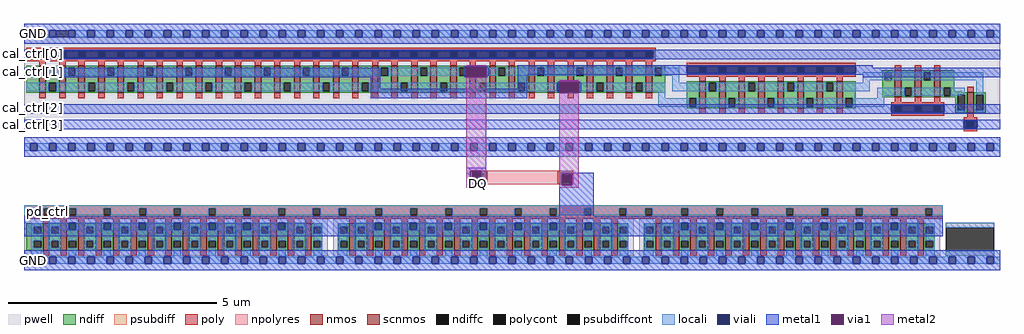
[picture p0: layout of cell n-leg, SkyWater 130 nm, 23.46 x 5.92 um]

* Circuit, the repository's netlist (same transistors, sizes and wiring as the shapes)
**.subckt n-leg DQ pd_ctrl cal_ctrl[3],cal_ctrl[2],cal_ctrl[1],cal_ctrl[0]
*.iopin DQ
*.ipin pd_ctrl
*.ipin cal_ctrl[3],cal_ctrl[2],cal_ctrl[1],cal_ctrl[0]
R1 vpulldown DQ sky130_fd_pr__res_generic_po W=0.33 L=1.7 m=1
Xn1 vpulldown pd_ctrl GND GND sky130_fd_pr__nfet_01v8 L=0.15 W=0.65 nf=1 ad='int((nf+1)/2) * W/nf * 0.29'
+ as='int((nf+2)/2) * W/nf * 0.29' pd='2*int((nf+1)/2) * (W/nf + 0.29)' ps='2*int((nf+2)/2) * (W/nf + 0.29)'
+ nrd='0.29 / W' nrs='0.29 / W' sa=0 sb=0 sd=0 mult=48 m=48
Xnctrl0 DQ cal_ctrl[0] vpulldown GND sky130_fd_pr__nfet_01v8 L=0.15 W=0.65 nf=1 ad='int((nf+1)/2) * W/nf * 0.29'
+ as='int((nf+2)/2) * W/nf * 0.29' pd='2*int((nf+1)/2) * (W/nf + 0.29)' ps='2*int((nf+2)/2) * (W/nf + 0.29)'
+ nrd='0.29 / W' nrs='0.29 / W' sa=0 sb=0 sd=0 mult=32 m=32
Xnctrl1 DQ cal_ctrl[1] vpulldown GND sky130_fd_pr__nfet_01v8 L=0.15 W=0.65 nf=1 ad='int((nf+1)/2) * W/nf * 0.29'
+ as='int((nf+2)/2) * W/nf * 0.29' pd='2*int((nf+1)/2) * (W/nf + 0.29)' ps='2*int((nf+2)/2) * (W/nf + 0.29)'
+ nrd='0.29 / W' nrs='0.29 / W' sa=0 sb=0 sd=0 mult=8 m=8
Xnctrl2 DQ cal_ctrl[2] vpulldown GND sky130_fd_pr__nfet_01v8 L=0.15 W=0.65 nf=1 ad='int((nf+1)/2) * W/nf * 0.29'
+ as='int((nf+2)/2) * W/nf * 0.29' pd='2*int((nf+1)/2) * (W/nf + 0.29)' ps='2*int((nf+2)/2) * (W/nf + 0.29)'
+ nrd='0.29 / W' nrs='0.29 / W' sa=0 sb=0 sd=0 mult=3 m=3
Xnctrl3 DQ cal_ctrl[3] vpulldown GND sky130_fd_pr__nfet_01v8 L=0.15 W=0.5 nf=1 ad='int((nf+1)/2) * W/nf * 0.29'
+ as='int((nf+2)/2) * W/nf * 0.29' pd='2*int((nf+1)/2) * (W/nf + 0.29)' ps='2*int((nf+2)/2) * (W/nf + 0.29)'
+ nrd='0.29 / W' nrs='0.29 / W' sa=0 sb=0 sd=0 mult=1 m=1
**.ends
.GLOBAL GND
.end

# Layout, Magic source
magic
tech sky130A
magscale 1 2
<< pwell >>
rect 1883 1071 1917 1105
rect 3355 1071 3389 1105
rect 4827 1071 4861 1105
rect 1854 673 6546 1071
rect 1854 21 3314 203
rect 3340 21 4786 203
rect 4812 21 6258 203
rect 1883 -17 1917 21
rect 3355 -17 3389 21
rect 4827 -17 4861 21
<< scnmos >>
rect 1946 47 1976 177
rect 2030 47 2060 177
rect 2114 47 2144 177
rect 2198 47 2228 177
rect 2282 47 2312 177
rect 2366 47 2396 177
rect 2450 47 2480 177
rect 2534 47 2564 177
rect 2618 47 2648 177
rect 2702 47 2732 177
rect 2786 47 2816 177
rect 2870 47 2900 177
rect 2954 47 2984 177
rect 3038 47 3068 177
rect 3122 47 3152 177
rect 3206 47 3236 177
rect 3418 47 3448 177
rect 3502 47 3532 177
rect 3586 47 3616 177
rect 3670 47 3700 177
rect 3754 47 3784 177
rect 3838 47 3868 177
rect 3922 47 3952 177
rect 4006 47 4036 177
rect 4090 47 4120 177
rect 4174 47 4204 177
rect 4258 47 4288 177
rect 4342 47 4372 177
rect 4426 47 4456 177
rect 4510 47 4540 177
rect 4594 47 4624 177
rect 4678 47 4708 177
rect 4890 47 4920 177
rect 4974 47 5004 177
rect 5058 47 5088 177
rect 5142 47 5172 177
rect 5226 47 5256 177
rect 5310 47 5340 177
rect 5394 47 5424 177
rect 5478 47 5508 177
rect 5562 47 5592 177
rect 5646 47 5676 177
rect 5730 47 5760 177
rect 5814 47 5844 177
rect 5898 47 5928 177
rect 5982 47 6012 177
rect 6066 47 6096 177
rect 6150 47 6180 177
<< ndiff >>
rect 6325 808 6361 812
rect 6325 782 6331 808
rect 1864 161 1946 177
rect 1864 127 1902 161
rect 1936 127 1946 161
rect 1864 93 1946 127
rect 1864 59 1902 93
rect 1936 59 1946 93
rect 1864 47 1946 59
rect 1976 161 2030 177
rect 1976 127 1986 161
rect 2020 127 2030 161
rect 1976 93 2030 127
rect 1976 59 1986 93
rect 2020 59 2030 93
rect 1976 47 2030 59
rect 2060 93 2114 177
rect 2060 59 2070 93
rect 2104 59 2114 93
rect 2060 47 2114 59
rect 2144 161 2198 177
rect 2144 127 2154 161
rect 2188 127 2198 161
rect 2144 93 2198 127
rect 2144 59 2154 93
rect 2188 59 2198 93
rect 2144 47 2198 59
rect 2228 93 2282 177
rect 2228 59 2238 93
rect 2272 59 2282 93
rect 2228 47 2282 59
rect 2312 161 2366 177
rect 2312 127 2322 161
rect 2356 127 2366 161
rect 2312 93 2366 127
rect 2312 59 2322 93
rect 2356 59 2366 93
rect 2312 47 2366 59
rect 2396 93 2450 177
rect 2396 59 2406 93
rect 2440 59 2450 93
rect 2396 47 2450 59
rect 2480 161 2534 177
rect 2480 127 2490 161
rect 2524 127 2534 161
rect 2480 93 2534 127
rect 2480 59 2490 93
rect 2524 59 2534 93
rect 2480 47 2534 59
rect 2564 93 2618 177
rect 2564 59 2574 93
rect 2608 59 2618 93
rect 2564 47 2618 59
rect 2648 161 2702 177
rect 2648 127 2658 161
rect 2692 127 2702 161
rect 2648 93 2702 127
rect 2648 59 2658 93
rect 2692 59 2702 93
rect 2648 47 2702 59
rect 2732 93 2786 177
rect 2732 59 2742 93
rect 2776 59 2786 93
rect 2732 47 2786 59
rect 2816 161 2870 177
rect 2816 127 2826 161
rect 2860 127 2870 161
rect 2816 93 2870 127
rect 2816 59 2826 93
rect 2860 59 2870 93
rect 2816 47 2870 59
rect 2900 93 2954 177
rect 2900 59 2910 93
rect 2944 59 2954 93
rect 2900 47 2954 59
rect 2984 161 3038 177
rect 2984 127 2994 161
rect 3028 127 3038 161
rect 2984 93 3038 127
rect 2984 59 2994 93
rect 3028 59 3038 93
rect 2984 47 3038 59
rect 3068 93 3122 177
rect 3068 59 3078 93
rect 3112 59 3122 93
rect 3068 47 3122 59
rect 3152 161 3206 177
rect 3152 127 3162 161
rect 3196 127 3206 161
rect 3152 93 3206 127
rect 3152 59 3162 93
rect 3196 59 3206 93
rect 3152 47 3206 59
rect 3236 161 3288 177
rect 3236 127 3246 161
rect 3280 127 3288 161
rect 3236 93 3288 127
rect 3236 59 3246 93
rect 3280 59 3288 93
rect 3236 47 3288 59
rect 3366 161 3418 177
rect 3366 127 3374 161
rect 3408 127 3418 161
rect 3366 93 3418 127
rect 3366 59 3374 93
rect 3408 59 3418 93
rect 3366 47 3418 59
rect 3448 161 3502 177
rect 3448 127 3458 161
rect 3492 127 3502 161
rect 3448 93 3502 127
rect 3448 59 3458 93
rect 3492 59 3502 93
rect 3448 47 3502 59
rect 3532 93 3586 177
rect 3532 59 3542 93
rect 3576 59 3586 93
rect 3532 47 3586 59
rect 3616 161 3670 177
rect 3616 127 3626 161
rect 3660 127 3670 161
rect 3616 93 3670 127
rect 3616 59 3626 93
rect 3660 59 3670 93
rect 3616 47 3670 59
rect 3700 93 3754 177
rect 3700 59 3710 93
rect 3744 59 3754 93
rect 3700 47 3754 59
rect 3784 161 3838 177
rect 3784 127 3794 161
rect 3828 127 3838 161
rect 3784 93 3838 127
rect 3784 59 3794 93
rect 3828 59 3838 93
rect 3784 47 3838 59
rect 3868 93 3922 177
rect 3868 59 3878 93
rect 3912 59 3922 93
rect 3868 47 3922 59
rect 3952 161 4006 177
rect 3952 127 3962 161
rect 3996 127 4006 161
rect 3952 93 4006 127
rect 3952 59 3962 93
rect 3996 59 4006 93
rect 3952 47 4006 59
rect 4036 93 4090 177
rect 4036 59 4046 93
rect 4080 59 4090 93
rect 4036 47 4090 59
rect 4120 161 4174 177
rect 4120 127 4130 161
rect 4164 127 4174 161
rect 4120 93 4174 127
rect 4120 59 4130 93
rect 4164 59 4174 93
rect 4120 47 4174 59
rect 4204 93 4258 177
rect 4204 59 4214 93
rect 4248 59 4258 93
rect 4204 47 4258 59
rect 4288 161 4342 177
rect 4288 127 4298 161
rect 4332 127 4342 161
rect 4288 93 4342 127
rect 4288 59 4298 93
rect 4332 59 4342 93
rect 4288 47 4342 59
rect 4372 93 4426 177
rect 4372 59 4382 93
rect 4416 59 4426 93
rect 4372 47 4426 59
rect 4456 161 4510 177
rect 4456 127 4466 161
rect 4500 127 4510 161
rect 4456 93 4510 127
rect 4456 59 4466 93
rect 4500 59 4510 93
rect 4456 47 4510 59
rect 4540 93 4594 177
rect 4540 59 4550 93
rect 4584 59 4594 93
rect 4540 47 4594 59
rect 4624 161 4678 177
rect 4624 127 4634 161
rect 4668 127 4678 161
rect 4624 93 4678 127
rect 4624 59 4634 93
rect 4668 59 4678 93
rect 4624 47 4678 59
rect 4708 161 4760 177
rect 4708 127 4718 161
rect 4752 127 4760 161
rect 4708 93 4760 127
rect 4708 59 4718 93
rect 4752 59 4760 93
rect 4708 47 4760 59
rect 4838 161 4890 177
rect 4838 127 4846 161
rect 4880 127 4890 161
rect 4838 93 4890 127
rect 4838 59 4846 93
rect 4880 59 4890 93
rect 4838 47 4890 59
rect 4920 161 4974 177
rect 4920 127 4930 161
rect 4964 127 4974 161
rect 4920 93 4974 127
rect 4920 59 4930 93
rect 4964 59 4974 93
rect 4920 47 4974 59
rect 5004 93 5058 177
rect 5004 59 5014 93
rect 5048 59 5058 93
rect 5004 47 5058 59
rect 5088 161 5142 177
rect 5088 127 5098 161
rect 5132 127 5142 161
rect 5088 93 5142 127
rect 5088 59 5098 93
rect 5132 59 5142 93
rect 5088 47 5142 59
rect 5172 93 5226 177
rect 5172 59 5182 93
rect 5216 59 5226 93
rect 5172 47 5226 59
rect 5256 161 5310 177
rect 5256 127 5266 161
rect 5300 127 5310 161
rect 5256 93 5310 127
rect 5256 59 5266 93
rect 5300 59 5310 93
rect 5256 47 5310 59
rect 5340 93 5394 177
rect 5340 59 5350 93
rect 5384 59 5394 93
rect 5340 47 5394 59
rect 5424 161 5478 177
rect 5424 127 5434 161
rect 5468 127 5478 161
rect 5424 93 5478 127
rect 5424 59 5434 93
rect 5468 59 5478 93
rect 5424 47 5478 59
rect 5508 93 5562 177
rect 5508 59 5518 93
rect 5552 59 5562 93
rect 5508 47 5562 59
rect 5592 161 5646 177
rect 5592 127 5602 161
rect 5636 127 5646 161
rect 5592 93 5646 127
rect 5592 59 5602 93
rect 5636 59 5646 93
rect 5592 47 5646 59
rect 5676 93 5730 177
rect 5676 59 5686 93
rect 5720 59 5730 93
rect 5676 47 5730 59
rect 5760 161 5814 177
rect 5760 127 5770 161
rect 5804 127 5814 161
rect 5760 93 5814 127
rect 5760 59 5770 93
rect 5804 59 5814 93
rect 5760 47 5814 59
rect 5844 93 5898 177
rect 5844 59 5854 93
rect 5888 59 5898 93
rect 5844 47 5898 59
rect 5928 161 5982 177
rect 5928 127 5938 161
rect 5972 127 5982 161
rect 5928 93 5982 127
rect 5928 59 5938 93
rect 5972 59 5982 93
rect 5928 47 5982 59
rect 6012 93 6066 177
rect 6012 59 6022 93
rect 6056 59 6066 93
rect 6012 47 6066 59
rect 6096 161 6150 177
rect 6096 127 6106 161
rect 6140 127 6150 161
rect 6096 93 6150 127
rect 6096 59 6106 93
rect 6140 59 6150 93
rect 6096 47 6150 59
rect 6180 161 6232 177
rect 6180 127 6190 161
rect 6224 127 6232 161
rect 6180 93 6232 127
rect 6180 59 6190 93
rect 6224 59 6232 93
rect 6180 47 6232 59
<< ndiffc >>
rect 1902 127 1936 161
rect 1902 59 1936 93
rect 1986 127 2020 161
rect 1986 59 2020 93
rect 2070 59 2104 93
rect 2154 127 2188 161
rect 2154 59 2188 93
rect 2238 59 2272 93
rect 2322 127 2356 161
rect 2322 59 2356 93
rect 2406 59 2440 93
rect 2490 127 2524 161
rect 2490 59 2524 93
rect 2574 59 2608 93
rect 2658 127 2692 161
rect 2658 59 2692 93
rect 2742 59 2776 93
rect 2826 127 2860 161
rect 2826 59 2860 93
rect 2910 59 2944 93
rect 2994 127 3028 161
rect 2994 59 3028 93
rect 3078 59 3112 93
rect 3162 127 3196 161
rect 3162 59 3196 93
rect 3246 127 3280 161
rect 3246 59 3280 93
rect 3374 127 3408 161
rect 3374 59 3408 93
rect 3458 127 3492 161
rect 3458 59 3492 93
rect 3542 59 3576 93
rect 3626 127 3660 161
rect 3626 59 3660 93
rect 3710 59 3744 93
rect 3794 127 3828 161
rect 3794 59 3828 93
rect 3878 59 3912 93
rect 3962 127 3996 161
rect 3962 59 3996 93
rect 4046 59 4080 93
rect 4130 127 4164 161
rect 4130 59 4164 93
rect 4214 59 4248 93
rect 4298 127 4332 161
rect 4298 59 4332 93
rect 4382 59 4416 93
rect 4466 127 4500 161
rect 4466 59 4500 93
rect 4550 59 4584 93
rect 4634 127 4668 161
rect 4634 59 4668 93
rect 4718 127 4752 161
rect 4718 59 4752 93
rect 4846 127 4880 161
rect 4846 59 4880 93
rect 4930 127 4964 161
rect 4930 59 4964 93
rect 5014 59 5048 93
rect 5098 127 5132 161
rect 5098 59 5132 93
rect 5182 59 5216 93
rect 5266 127 5300 161
rect 5266 59 5300 93
rect 5350 59 5384 93
rect 5434 127 5468 161
rect 5434 59 5468 93
rect 5518 59 5552 93
rect 5602 127 5636 161
rect 5602 59 5636 93
rect 5686 59 5720 93
rect 5770 127 5804 161
rect 5770 59 5804 93
rect 5854 59 5888 93
rect 5938 127 5972 161
rect 5938 59 5972 93
rect 6022 59 6056 93
rect 6106 127 6140 161
rect 6106 59 6140 93
rect 6190 127 6224 161
rect 6190 59 6224 93
<< psubdiff >>
rect 1975 1071 2009 1105
rect 2067 1071 2101 1105
rect 6286 156 6519 180
rect 6286 21 6519 45
<< psubdiffcont >>
rect 2009 1071 2067 1105
rect 6286 45 6519 156
<< poly >>
rect 1854 249 6270 265
rect 1854 215 1950 249
rect 1984 215 2070 249
rect 2104 215 2238 249
rect 2272 215 2407 249
rect 2441 215 2574 249
rect 2608 215 2742 249
rect 2776 215 2909 249
rect 2943 215 3076 249
rect 3110 215 3243 249
rect 3277 215 3368 249
rect 3402 215 3542 249
rect 3576 215 3710 249
rect 3744 215 3879 249
rect 3913 215 4046 249
rect 4080 215 4214 249
rect 4248 215 4381 249
rect 4415 215 4548 249
rect 4582 215 4715 249
rect 4749 215 4840 249
rect 4874 215 5014 249
rect 5048 215 5182 249
rect 5216 215 5351 249
rect 5385 215 5518 249
rect 5552 215 5686 249
rect 5720 215 5853 249
rect 5887 215 6020 249
rect 6054 215 6187 249
rect 6221 215 6270 249
rect 1854 199 6270 215
rect 1946 177 1976 199
rect 2030 177 2060 199
rect 2114 177 2144 199
rect 2198 177 2228 199
rect 2282 177 2312 199
rect 2366 177 2396 199
rect 2450 177 2480 199
rect 2534 177 2564 199
rect 2618 177 2648 199
rect 2702 177 2732 199
rect 2786 177 2816 199
rect 2870 177 2900 199
rect 2954 177 2984 199
rect 3038 177 3068 199
rect 3122 177 3152 199
rect 3206 177 3236 199
rect 3418 177 3448 199
rect 3502 177 3532 199
rect 3586 177 3616 199
rect 3670 177 3700 199
rect 3754 177 3784 199
rect 3838 177 3868 199
rect 3922 177 3952 199
rect 4006 177 4036 199
rect 4090 177 4120 199
rect 4174 177 4204 199
rect 4258 177 4288 199
rect 4342 177 4372 199
rect 4426 177 4456 199
rect 4510 177 4540 199
rect 4594 177 4624 199
rect 4678 177 4708 199
rect 4890 177 4920 199
rect 4974 177 5004 199
rect 5058 177 5088 199
rect 5142 177 5172 199
rect 5226 177 5256 199
rect 5310 177 5340 199
rect 5394 177 5424 199
rect 5478 177 5508 199
rect 5562 177 5592 199
rect 5646 177 5676 199
rect 5730 177 5760 199
rect 5814 177 5844 199
rect 5898 177 5928 199
rect 5982 177 6012 199
rect 6066 177 6096 199
rect 6150 177 6180 199
rect 1946 21 1976 47
rect 2030 21 2060 47
rect 2114 21 2144 47
rect 2198 21 2228 47
rect 2282 21 2312 47
rect 2366 21 2396 47
rect 2450 21 2480 47
rect 2534 21 2564 47
rect 2618 21 2648 47
rect 2702 21 2732 47
rect 2786 21 2816 47
rect 2870 21 2900 47
rect 2954 21 2984 47
rect 3038 21 3068 47
rect 3122 21 3152 47
rect 3206 21 3236 47
rect 3418 21 3448 47
rect 3502 21 3532 47
rect 3586 21 3616 47
rect 3670 21 3700 47
rect 3754 21 3784 47
rect 3838 21 3868 47
rect 3922 21 3952 47
rect 4006 21 4036 47
rect 4090 21 4120 47
rect 4174 21 4204 47
rect 4258 21 4288 47
rect 4342 21 4372 47
rect 4426 21 4456 47
rect 4510 21 4540 47
rect 4594 21 4624 47
rect 4678 21 4708 47
rect 4890 21 4920 47
rect 4974 21 5004 47
rect 5058 21 5088 47
rect 5142 21 5172 47
rect 5226 21 5256 47
rect 5310 21 5340 47
rect 5394 21 5424 47
rect 5478 21 5508 47
rect 5562 21 5592 47
rect 5646 21 5676 47
rect 5730 21 5760 47
rect 5814 21 5844 47
rect 5898 21 5928 47
rect 5982 21 6012 47
rect 6066 21 6096 47
rect 6150 21 6180 47
<< polycont >>
rect 1950 215 1984 249
rect 2070 215 2104 249
rect 2238 215 2272 249
rect 2407 215 2441 249
rect 2574 215 2608 249
rect 2742 215 2776 249
rect 2909 215 2943 249
rect 3076 215 3110 249
rect 3243 215 3277 249
rect 3368 215 3402 249
rect 3542 215 3576 249
rect 3710 215 3744 249
rect 3879 215 3913 249
rect 4046 215 4080 249
rect 4214 215 4248 249
rect 4381 215 4415 249
rect 4548 215 4582 249
rect 4715 215 4749 249
rect 4840 215 4874 249
rect 5014 215 5048 249
rect 5182 215 5216 249
rect 5351 215 5385 249
rect 5518 215 5552 249
rect 5686 215 5720 249
rect 5853 215 5887 249
rect 6020 215 6054 249
rect 6187 215 6221 249
<< locali >>
rect 1854 1071 1883 1105
rect 1917 1071 1975 1105
rect 2101 1071 2159 1105
rect 2193 1071 2251 1105
rect 2285 1071 2343 1105
rect 2377 1071 2435 1105
rect 2469 1071 2527 1105
rect 2561 1071 2619 1105
rect 2653 1071 2711 1105
rect 2745 1071 2803 1105
rect 2837 1071 2895 1105
rect 2929 1071 2987 1105
rect 3021 1071 3079 1105
rect 3113 1071 3171 1105
rect 3205 1071 3263 1105
rect 3297 1071 3355 1105
rect 3389 1071 3447 1105
rect 3481 1071 3539 1105
rect 3573 1071 3631 1105
rect 3665 1071 3723 1105
rect 3757 1071 3815 1105
rect 3849 1071 3907 1105
rect 3941 1071 3999 1105
rect 4033 1071 4091 1105
rect 4125 1071 4183 1105
rect 4217 1071 4275 1105
rect 4309 1071 4367 1105
rect 4401 1071 4459 1105
rect 4493 1071 4551 1105
rect 4585 1071 4643 1105
rect 4677 1071 4735 1105
rect 4769 1071 4827 1105
rect 4861 1071 4919 1105
rect 4953 1071 5011 1105
rect 5045 1071 5103 1105
rect 5137 1071 5195 1105
rect 5229 1071 5287 1105
rect 5321 1071 5379 1105
rect 5413 1071 5471 1105
rect 5505 1071 5563 1105
rect 5597 1071 5655 1105
rect 5689 1071 5747 1105
rect 5781 1071 5839 1105
rect 5873 1071 5931 1105
rect 5965 1071 6023 1105
rect 6057 1071 6115 1105
rect 6149 1071 6207 1105
rect 6241 1071 6299 1105
rect 6333 1071 6391 1105
rect 6425 1071 6483 1105
rect 6517 1071 6546 1105
rect 4936 886 5004 926
rect 4970 852 5004 886
rect 5887 864 6023 904
rect 6325 864 6465 904
rect 5887 852 5921 864
rect 4970 812 5039 852
rect 5853 812 5921 852
rect 4902 778 4936 812
rect 5955 790 6019 830
rect 6325 812 6377 830
rect 6431 812 6465 864
rect 6325 790 6363 812
rect 5955 778 5989 790
rect 4902 738 5039 778
rect 5853 738 5989 778
rect 1854 527 1883 561
rect 1917 527 1975 561
rect 2009 527 2067 561
rect 2101 527 2159 561
rect 2193 527 2251 561
rect 2285 527 2343 561
rect 2377 527 2435 561
rect 2469 527 2527 561
rect 2561 527 2619 561
rect 2653 527 2711 561
rect 2745 527 2803 561
rect 2837 527 2895 561
rect 2929 527 2987 561
rect 3021 527 3079 561
rect 3113 527 3171 561
rect 3205 527 3263 561
rect 3297 527 3355 561
rect 3389 527 3447 561
rect 3481 527 3539 561
rect 3573 527 3631 561
rect 3665 527 3723 561
rect 3757 527 3815 561
rect 3849 527 3907 561
rect 3941 527 3999 561
rect 4033 527 4091 561
rect 4125 527 4183 561
rect 4217 527 4275 561
rect 4309 527 4367 561
rect 4401 527 4459 561
rect 4493 527 4551 561
rect 4585 527 4643 561
rect 4677 527 4735 561
rect 4769 527 4827 561
rect 4861 527 4919 561
rect 4953 527 5011 561
rect 5045 527 5103 561
rect 5137 527 5195 561
rect 5229 527 5287 561
rect 5321 527 5379 561
rect 5413 527 5471 561
rect 5505 527 5563 561
rect 5597 527 5655 561
rect 5689 527 5747 561
rect 5781 527 5839 561
rect 5873 527 5931 561
rect 5965 527 6023 561
rect 6057 527 6115 561
rect 6149 527 6207 561
rect 6241 527 6299 561
rect 6333 527 6391 561
rect 6425 527 6483 561
rect 6517 527 6546 561
rect 1854 249 6270 263
rect 1854 215 1950 249
rect 1984 215 2070 249
rect 2104 215 2238 249
rect 2272 215 2407 249
rect 2441 215 2574 249
rect 2608 215 2742 249
rect 2776 215 2909 249
rect 2943 215 3076 249
rect 3110 215 3243 249
rect 3277 215 3368 249
rect 3402 215 3542 249
rect 3576 215 3710 249
rect 3744 215 3879 249
rect 3913 215 4046 249
rect 4080 215 4214 249
rect 4248 215 4381 249
rect 4415 215 4548 249
rect 4582 215 4715 249
rect 4749 215 4840 249
rect 4874 215 5014 249
rect 5048 215 5182 249
rect 5216 215 5351 249
rect 5385 215 5518 249
rect 5552 215 5686 249
rect 5720 215 5853 249
rect 5887 215 6020 249
rect 6054 215 6187 249
rect 6221 215 6270 249
rect 1970 179 3212 181
rect 1890 161 1936 177
rect 1890 127 1902 161
rect 1890 93 1936 127
rect 1890 59 1902 93
rect 1890 17 1936 59
rect 1970 161 2069 179
rect 1970 127 1986 161
rect 2020 145 2069 161
rect 2103 161 2237 179
rect 2103 145 2154 161
rect 2020 143 2154 145
rect 2020 127 2036 143
rect 1970 93 2036 127
rect 2138 127 2154 143
rect 2188 145 2237 161
rect 2271 161 2405 179
rect 2271 145 2322 161
rect 2188 143 2322 145
rect 2188 127 2204 143
rect 1970 59 1986 93
rect 2020 59 2036 93
rect 1970 51 2036 59
rect 2070 93 2104 109
rect 2070 17 2104 59
rect 2138 93 2204 127
rect 2306 127 2322 143
rect 2356 145 2405 161
rect 2439 161 2573 179
rect 2439 145 2490 161
rect 2356 143 2490 145
rect 2356 127 2372 143
rect 2138 59 2154 93
rect 2188 59 2204 93
rect 2138 51 2204 59
rect 2238 93 2272 109
rect 2238 17 2272 59
rect 2306 93 2372 127
rect 2474 127 2490 143
rect 2524 145 2573 161
rect 2607 161 2741 179
rect 2607 145 2658 161
rect 2524 143 2658 145
rect 2524 127 2540 143
rect 2306 59 2322 93
rect 2356 59 2372 93
rect 2306 51 2372 59
rect 2406 93 2440 109
rect 2406 17 2440 59
rect 2474 93 2540 127
rect 2642 127 2658 143
rect 2692 145 2741 161
rect 2775 161 2909 179
rect 2775 145 2826 161
rect 2692 143 2826 145
rect 2692 127 2708 143
rect 2474 59 2490 93
rect 2524 59 2540 93
rect 2474 51 2540 59
rect 2574 93 2608 109
rect 2574 17 2608 59
rect 2642 93 2708 127
rect 2810 127 2826 143
rect 2860 145 2909 161
rect 2943 161 3077 179
rect 2943 145 2994 161
rect 2860 143 2994 145
rect 2860 127 2876 143
rect 2642 59 2658 93
rect 2692 59 2708 93
rect 2642 51 2708 59
rect 2742 93 2776 109
rect 2742 17 2776 59
rect 2810 93 2876 127
rect 2978 127 2994 143
rect 3028 145 3077 161
rect 3111 161 3212 179
rect 3442 179 4684 181
rect 3111 145 3162 161
rect 3028 143 3162 145
rect 3028 127 3044 143
rect 2810 59 2826 93
rect 2860 59 2876 93
rect 2810 51 2876 59
rect 2910 93 2944 109
rect 2910 17 2944 59
rect 2978 93 3044 127
rect 3146 127 3162 143
rect 3196 127 3212 161
rect 2978 59 2994 93
rect 3028 59 3044 93
rect 2978 51 3044 59
rect 3078 93 3112 109
rect 3078 17 3112 59
rect 3146 93 3212 127
rect 3146 59 3162 93
rect 3196 59 3212 93
rect 3146 51 3212 59
rect 3246 161 3288 177
rect 3280 127 3288 161
rect 3246 93 3288 127
rect 3280 59 3288 93
rect 3246 17 3288 59
rect 3362 161 3408 177
rect 3362 127 3374 161
rect 3362 93 3408 127
rect 3362 59 3374 93
rect 3362 17 3408 59
rect 3442 161 3541 179
rect 3442 127 3458 161
rect 3492 145 3541 161
rect 3575 161 3709 179
rect 3575 145 3626 161
rect 3492 143 3626 145
rect 3492 127 3508 143
rect 3442 93 3508 127
rect 3610 127 3626 143
rect 3660 145 3709 161
rect 3743 161 3877 179
rect 3743 145 3794 161
rect 3660 143 3794 145
rect 3660 127 3676 143
rect 3442 59 3458 93
rect 3492 59 3508 93
rect 3442 51 3508 59
rect 3542 93 3576 109
rect 3542 17 3576 59
rect 3610 93 3676 127
rect 3778 127 3794 143
rect 3828 145 3877 161
rect 3911 161 4045 179
rect 3911 145 3962 161
rect 3828 143 3962 145
rect 3828 127 3844 143
rect 3610 59 3626 93
rect 3660 59 3676 93
rect 3610 51 3676 59
rect 3710 93 3744 109
rect 3710 17 3744 59
rect 3778 93 3844 127
rect 3946 127 3962 143
rect 3996 145 4045 161
rect 4079 161 4213 179
rect 4079 145 4130 161
rect 3996 143 4130 145
rect 3996 127 4012 143
rect 3778 59 3794 93
rect 3828 59 3844 93
rect 3778 51 3844 59
rect 3878 93 3912 109
rect 3878 17 3912 59
rect 3946 93 4012 127
rect 4114 127 4130 143
rect 4164 145 4213 161
rect 4247 161 4381 179
rect 4247 145 4298 161
rect 4164 143 4298 145
rect 4164 127 4180 143
rect 3946 59 3962 93
rect 3996 59 4012 93
rect 3946 51 4012 59
rect 4046 93 4080 109
rect 4046 17 4080 59
rect 4114 93 4180 127
rect 4282 127 4298 143
rect 4332 145 4381 161
rect 4415 161 4549 179
rect 4415 145 4466 161
rect 4332 143 4466 145
rect 4332 127 4348 143
rect 4114 59 4130 93
rect 4164 59 4180 93
rect 4114 51 4180 59
rect 4214 93 4248 109
rect 4214 17 4248 59
rect 4282 93 4348 127
rect 4450 127 4466 143
rect 4500 145 4549 161
rect 4583 161 4684 179
rect 4914 179 6156 181
rect 4583 145 4634 161
rect 4500 143 4634 145
rect 4500 127 4516 143
rect 4282 59 4298 93
rect 4332 59 4348 93
rect 4282 51 4348 59
rect 4382 93 4416 109
rect 4382 17 4416 59
rect 4450 93 4516 127
rect 4618 127 4634 143
rect 4668 127 4684 161
rect 4450 59 4466 93
rect 4500 59 4516 93
rect 4450 51 4516 59
rect 4550 93 4584 109
rect 4550 17 4584 59
rect 4618 93 4684 127
rect 4618 59 4634 93
rect 4668 59 4684 93
rect 4618 51 4684 59
rect 4718 161 4760 177
rect 4752 127 4760 161
rect 4718 93 4760 127
rect 4752 59 4760 93
rect 4718 17 4760 59
rect 4834 161 4880 177
rect 4834 127 4846 161
rect 4834 93 4880 127
rect 4834 59 4846 93
rect 4834 17 4880 59
rect 4914 161 5013 179
rect 4914 127 4930 161
rect 4964 145 5013 161
rect 5047 161 5181 179
rect 5047 145 5098 161
rect 4964 143 5098 145
rect 4964 127 4980 143
rect 4914 93 4980 127
rect 5082 127 5098 143
rect 5132 145 5181 161
rect 5215 161 5349 179
rect 5215 145 5266 161
rect 5132 143 5266 145
rect 5132 127 5148 143
rect 4914 59 4930 93
rect 4964 59 4980 93
rect 4914 51 4980 59
rect 5014 93 5048 109
rect 5014 17 5048 59
rect 5082 93 5148 127
rect 5250 127 5266 143
rect 5300 145 5349 161
rect 5383 161 5517 179
rect 5383 145 5434 161
rect 5300 143 5434 145
rect 5300 127 5316 143
rect 5082 59 5098 93
rect 5132 59 5148 93
rect 5082 51 5148 59
rect 5182 93 5216 109
rect 5182 17 5216 59
rect 5250 93 5316 127
rect 5418 127 5434 143
rect 5468 145 5517 161
rect 5551 161 5685 179
rect 5551 145 5602 161
rect 5468 143 5602 145
rect 5468 127 5484 143
rect 5250 59 5266 93
rect 5300 59 5316 93
rect 5250 51 5316 59
rect 5350 93 5384 109
rect 5350 17 5384 59
rect 5418 93 5484 127
rect 5586 127 5602 143
rect 5636 145 5685 161
rect 5719 161 5853 179
rect 5719 145 5770 161
rect 5636 143 5770 145
rect 5636 127 5652 143
rect 5418 59 5434 93
rect 5468 59 5484 93
rect 5418 51 5484 59
rect 5518 93 5552 109
rect 5518 17 5552 59
rect 5586 93 5652 127
rect 5754 127 5770 143
rect 5804 145 5853 161
rect 5887 161 6021 179
rect 5887 145 5938 161
rect 5804 143 5938 145
rect 5804 127 5820 143
rect 5586 59 5602 93
rect 5636 59 5652 93
rect 5586 51 5652 59
rect 5686 93 5720 109
rect 5686 17 5720 59
rect 5754 93 5820 127
rect 5922 127 5938 143
rect 5972 145 6021 161
rect 6055 161 6156 179
rect 6055 145 6106 161
rect 5972 143 6106 145
rect 5972 127 5988 143
rect 5754 59 5770 93
rect 5804 59 5820 93
rect 5754 51 5820 59
rect 5854 93 5888 109
rect 5854 17 5888 59
rect 5922 93 5988 127
rect 6090 127 6106 143
rect 6140 127 6156 161
rect 5922 59 5938 93
rect 5972 59 5988 93
rect 5922 51 5988 59
rect 6022 93 6056 109
rect 6022 17 6056 59
rect 6090 93 6156 127
rect 6090 59 6106 93
rect 6140 59 6156 93
rect 6090 51 6156 59
rect 6190 161 6232 177
rect 6224 127 6232 161
rect 6190 93 6232 127
rect 6224 59 6232 93
rect 6190 17 6232 59
rect 6286 156 6519 180
rect 6286 17 6519 45
rect 1854 -17 1883 17
rect 1917 -17 1975 17
rect 2009 -17 2067 17
rect 2101 -17 2159 17
rect 2193 -17 2251 17
rect 2285 -17 2343 17
rect 2377 -17 2435 17
rect 2469 -17 2527 17
rect 2561 -17 2619 17
rect 2653 -17 2711 17
rect 2745 -17 2803 17
rect 2837 -17 2895 17
rect 2929 -17 2987 17
rect 3021 -17 3079 17
rect 3113 -17 3171 17
rect 3205 -17 3263 17
rect 3297 -17 3355 17
rect 3389 -17 3447 17
rect 3481 -17 3539 17
rect 3573 -17 3631 17
rect 3665 -17 3723 17
rect 3757 -17 3815 17
rect 3849 -17 3907 17
rect 3941 -17 3999 17
rect 4033 -17 4091 17
rect 4125 -17 4183 17
rect 4217 -17 4275 17
rect 4309 -17 4367 17
rect 4401 -17 4459 17
rect 4493 -17 4551 17
rect 4585 -17 4643 17
rect 4677 -17 4735 17
rect 4769 -17 4827 17
rect 4861 -17 4919 17
rect 4953 -17 5011 17
rect 5045 -17 5103 17
rect 5137 -17 5195 17
rect 5229 -17 5287 17
rect 5321 -17 5379 17
rect 5413 -17 5471 17
rect 5505 -17 5563 17
rect 5597 -17 5655 17
rect 5689 -17 5747 17
rect 5781 -17 5839 17
rect 5873 -17 5931 17
rect 5965 -17 6023 17
rect 6057 -17 6115 17
rect 6149 -17 6207 17
rect 6241 -17 6299 17
rect 6333 -17 6391 17
rect 6425 -17 6483 17
rect 6517 -17 6546 17
<< viali >>
rect 1883 1071 1917 1105
rect 1975 1071 2009 1105
rect 2067 1071 2101 1105
rect 2159 1071 2193 1105
rect 2251 1071 2285 1105
rect 2343 1071 2377 1105
rect 2435 1071 2469 1105
rect 2527 1071 2561 1105
rect 2619 1071 2653 1105
rect 2711 1071 2745 1105
rect 2803 1071 2837 1105
rect 2895 1071 2929 1105
rect 2987 1071 3021 1105
rect 3079 1071 3113 1105
rect 3171 1071 3205 1105
rect 3263 1071 3297 1105
rect 3355 1071 3389 1105
rect 3447 1071 3481 1105
rect 3539 1071 3573 1105
rect 3631 1071 3665 1105
rect 3723 1071 3757 1105
rect 3815 1071 3849 1105
rect 3907 1071 3941 1105
rect 3999 1071 4033 1105
rect 4091 1071 4125 1105
rect 4183 1071 4217 1105
rect 4275 1071 4309 1105
rect 4367 1071 4401 1105
rect 4459 1071 4493 1105
rect 4551 1071 4585 1105
rect 4643 1071 4677 1105
rect 4735 1071 4769 1105
rect 4827 1071 4861 1105
rect 4919 1071 4953 1105
rect 5011 1071 5045 1105
rect 5103 1071 5137 1105
rect 5195 1071 5229 1105
rect 5287 1071 5321 1105
rect 5379 1071 5413 1105
rect 5471 1071 5505 1105
rect 5563 1071 5597 1105
rect 5655 1071 5689 1105
rect 5747 1071 5781 1105
rect 5839 1071 5873 1105
rect 5931 1071 5965 1105
rect 6023 1071 6057 1105
rect 6115 1071 6149 1105
rect 6207 1071 6241 1105
rect 6299 1071 6333 1105
rect 6391 1071 6425 1105
rect 6483 1071 6517 1105
rect 1866 972 4880 1006
rect 3980 886 4076 926
rect 5039 898 5853 932
rect 4426 812 4522 852
rect 6023 710 6277 744
rect 6371 636 6437 670
rect 1883 527 1917 561
rect 1975 527 2009 561
rect 2067 527 2101 561
rect 2159 527 2193 561
rect 2251 527 2285 561
rect 2343 527 2377 561
rect 2435 527 2469 561
rect 2527 527 2561 561
rect 2619 527 2653 561
rect 2711 527 2745 561
rect 2803 527 2837 561
rect 2895 527 2929 561
rect 2987 527 3021 561
rect 3079 527 3113 561
rect 3171 527 3205 561
rect 3263 527 3297 561
rect 3355 527 3389 561
rect 3447 527 3481 561
rect 3539 527 3573 561
rect 3631 527 3665 561
rect 3723 527 3757 561
rect 3815 527 3849 561
rect 3907 527 3941 561
rect 3999 527 4033 561
rect 4091 527 4125 561
rect 4183 527 4217 561
rect 4275 527 4309 561
rect 4367 527 4401 561
rect 4459 527 4493 561
rect 4551 527 4585 561
rect 4643 527 4677 561
rect 4735 527 4769 561
rect 4827 527 4861 561
rect 4919 527 4953 561
rect 5011 527 5045 561
rect 5103 527 5137 561
rect 5195 527 5229 561
rect 5287 527 5321 561
rect 5379 527 5413 561
rect 5471 527 5505 561
rect 5563 527 5597 561
rect 5655 527 5689 561
rect 5747 527 5781 561
rect 5839 527 5873 561
rect 5931 527 5965 561
rect 6023 527 6057 561
rect 6115 527 6149 561
rect 6207 527 6241 561
rect 6299 527 6333 561
rect 6391 527 6425 561
rect 6483 527 6517 561
rect 2069 145 2103 179
rect 2237 145 2271 179
rect 2405 145 2439 179
rect 2573 145 2607 179
rect 2741 145 2775 179
rect 2909 145 2943 179
rect 3077 145 3111 179
rect 3541 145 3575 179
rect 3709 145 3743 179
rect 3877 145 3911 179
rect 4045 145 4079 179
rect 4213 145 4247 179
rect 4381 145 4415 179
rect 4549 145 4583 179
rect 5013 145 5047 179
rect 5181 145 5215 179
rect 5349 145 5383 179
rect 5517 145 5551 179
rect 5685 145 5719 179
rect 5853 145 5887 179
rect 6021 145 6055 179
rect 1883 -17 1917 17
rect 1975 -17 2009 17
rect 2067 -17 2101 17
rect 2159 -17 2193 17
rect 2251 -17 2285 17
rect 2343 -17 2377 17
rect 2435 -17 2469 17
rect 2527 -17 2561 17
rect 2619 -17 2653 17
rect 2711 -17 2745 17
rect 2803 -17 2837 17
rect 2895 -17 2929 17
rect 2987 -17 3021 17
rect 3079 -17 3113 17
rect 3171 -17 3205 17
rect 3263 -17 3297 17
rect 3355 -17 3389 17
rect 3447 -17 3481 17
rect 3539 -17 3573 17
rect 3631 -17 3665 17
rect 3723 -17 3757 17
rect 3815 -17 3849 17
rect 3907 -17 3941 17
rect 3999 -17 4033 17
rect 4091 -17 4125 17
rect 4183 -17 4217 17
rect 4275 -17 4309 17
rect 4367 -17 4401 17
rect 4459 -17 4493 17
rect 4551 -17 4585 17
rect 4643 -17 4677 17
rect 4735 -17 4769 17
rect 4827 -17 4861 17
rect 4919 -17 4953 17
rect 5011 -17 5045 17
rect 5103 -17 5137 17
rect 5195 -17 5229 17
rect 5287 -17 5321 17
rect 5379 -17 5413 17
rect 5471 -17 5505 17
rect 5563 -17 5597 17
rect 5655 -17 5689 17
rect 5747 -17 5781 17
rect 5839 -17 5873 17
rect 5931 -17 5965 17
rect 6023 -17 6057 17
rect 6115 -17 6149 17
rect 6207 -17 6241 17
rect 6299 -17 6333 17
rect 6391 -17 6425 17
rect 6483 -17 6517 17
<< metal1 >>
rect 1854 1105 6546 1136
rect 1854 1071 1883 1105
rect 1917 1071 1975 1105
rect 2009 1071 2067 1105
rect 2101 1071 2159 1105
rect 2193 1071 2251 1105
rect 2285 1071 2343 1105
rect 2377 1071 2435 1105
rect 2469 1071 2527 1105
rect 2561 1071 2619 1105
rect 2653 1071 2711 1105
rect 2745 1071 2803 1105
rect 2837 1071 2895 1105
rect 2929 1071 2987 1105
rect 3021 1071 3079 1105
rect 3113 1071 3171 1105
rect 3205 1071 3263 1105
rect 3297 1071 3355 1105
rect 3389 1071 3447 1105
rect 3481 1071 3539 1105
rect 3573 1071 3631 1105
rect 3665 1071 3723 1105
rect 3757 1071 3815 1105
rect 3849 1071 3907 1105
rect 3941 1071 3999 1105
rect 4033 1071 4091 1105
rect 4125 1071 4183 1105
rect 4217 1071 4275 1105
rect 4309 1071 4367 1105
rect 4401 1071 4459 1105
rect 4493 1071 4551 1105
rect 4585 1071 4643 1105
rect 4677 1071 4735 1105
rect 4769 1071 4827 1105
rect 4861 1071 4919 1105
rect 4953 1071 5011 1105
rect 5045 1071 5103 1105
rect 5137 1071 5195 1105
rect 5229 1071 5287 1105
rect 5321 1071 5379 1105
rect 5413 1071 5471 1105
rect 5505 1071 5563 1105
rect 5597 1071 5655 1105
rect 5689 1071 5747 1105
rect 5781 1071 5839 1105
rect 5873 1071 5931 1105
rect 5965 1071 6023 1105
rect 6057 1071 6115 1105
rect 6149 1071 6207 1105
rect 6241 1071 6299 1105
rect 6333 1071 6391 1105
rect 6425 1071 6483 1105
rect 6517 1071 6546 1105
rect 1854 1040 6546 1071
rect 1854 1006 6546 1012
rect 1854 972 1866 1006
rect 4880 972 6546 1006
rect 1854 966 6546 972
rect 4227 932 5935 938
rect 3974 926 3980 932
rect 4076 926 4082 932
rect 1854 880 3566 926
rect 3968 886 3980 926
rect 4076 886 4088 926
rect 4227 898 5039 932
rect 5853 926 5935 932
rect 5853 898 6546 926
rect 4227 892 6546 898
rect 3974 880 3980 886
rect 4076 880 4082 886
rect 3520 824 3566 880
rect 4227 824 4273 892
rect 5889 880 6546 892
rect 4420 852 4426 858
rect 4522 852 4528 858
rect 3520 778 4273 824
rect 4414 812 4426 852
rect 4522 812 4534 852
rect 4420 806 4426 812
rect 4522 806 4528 812
rect 1854 744 6546 750
rect 1854 710 6023 744
rect 6277 710 6546 744
rect 1854 704 6546 710
rect 1854 670 6546 676
rect 1854 636 6371 670
rect 6437 636 6546 670
rect 1854 630 6546 636
rect 1854 561 6546 592
rect 1854 527 1883 561
rect 1917 527 1975 561
rect 2009 527 2067 561
rect 2101 527 2159 561
rect 2193 527 2251 561
rect 2285 527 2343 561
rect 2377 527 2435 561
rect 2469 527 2527 561
rect 2561 527 2619 561
rect 2653 527 2711 561
rect 2745 527 2803 561
rect 2837 527 2895 561
rect 2929 527 2987 561
rect 3021 527 3079 561
rect 3113 527 3171 561
rect 3205 527 3263 561
rect 3297 527 3355 561
rect 3389 527 3447 561
rect 3481 527 3539 561
rect 3573 527 3631 561
rect 3665 527 3723 561
rect 3757 527 3815 561
rect 3849 527 3907 561
rect 3941 527 3999 561
rect 4033 527 4091 561
rect 4125 527 4183 561
rect 4217 527 4275 561
rect 4309 527 4367 561
rect 4401 527 4459 561
rect 4493 527 4551 561
rect 4585 527 4643 561
rect 4677 527 4735 561
rect 4769 527 4827 561
rect 4861 527 4919 561
rect 4953 527 5011 561
rect 5045 527 5103 561
rect 5137 527 5195 561
rect 5229 527 5287 561
rect 5321 527 5379 561
rect 5413 527 5471 561
rect 5505 527 5563 561
rect 5597 527 5655 561
rect 5689 527 5747 561
rect 5781 527 5839 561
rect 5873 527 5931 561
rect 5965 527 6023 561
rect 6057 527 6115 561
rect 6149 527 6207 561
rect 6241 527 6299 561
rect 6333 527 6391 561
rect 6425 527 6483 561
rect 6517 527 6546 561
rect 1854 496 6546 527
rect 3980 431 4076 445
rect 3980 379 3999 431
rect 4051 379 4076 431
rect 3980 349 4076 379
rect 4426 412 4593 421
rect 4426 360 4438 412
rect 4490 360 4593 412
rect 4426 210 4593 360
rect 1854 179 6270 210
rect 1854 145 2069 179
rect 2103 145 2237 179
rect 2271 145 2405 179
rect 2439 145 2573 179
rect 2607 145 2741 179
rect 2775 145 2909 179
rect 2943 145 3077 179
rect 3111 145 3541 179
rect 3575 145 3709 179
rect 3743 145 3877 179
rect 3911 145 4045 179
rect 4079 145 4213 179
rect 4247 145 4381 179
rect 4415 145 4549 179
rect 4583 145 5013 179
rect 5047 145 5181 179
rect 5215 145 5349 179
rect 5383 145 5517 179
rect 5551 145 5685 179
rect 5719 145 5853 179
rect 5887 145 6021 179
rect 6055 145 6270 179
rect 1854 114 6270 145
rect 1854 17 6546 48
rect 1854 -17 1883 17
rect 1917 -17 1975 17
rect 2009 -17 2067 17
rect 2101 -17 2159 17
rect 2193 -17 2251 17
rect 2285 -17 2343 17
rect 2377 -17 2435 17
rect 2469 -17 2527 17
rect 2561 -17 2619 17
rect 2653 -17 2711 17
rect 2745 -17 2803 17
rect 2837 -17 2895 17
rect 2929 -17 2987 17
rect 3021 -17 3079 17
rect 3113 -17 3171 17
rect 3205 -17 3263 17
rect 3297 -17 3355 17
rect 3389 -17 3447 17
rect 3481 -17 3539 17
rect 3573 -17 3631 17
rect 3665 -17 3723 17
rect 3757 -17 3815 17
rect 3849 -17 3907 17
rect 3941 -17 3999 17
rect 4033 -17 4091 17
rect 4125 -17 4183 17
rect 4217 -17 4275 17
rect 4309 -17 4367 17
rect 4401 -17 4459 17
rect 4493 -17 4551 17
rect 4585 -17 4643 17
rect 4677 -17 4735 17
rect 4769 -17 4827 17
rect 4861 -17 4919 17
rect 4953 -17 5011 17
rect 5045 -17 5103 17
rect 5137 -17 5195 17
rect 5229 -17 5287 17
rect 5321 -17 5379 17
rect 5413 -17 5471 17
rect 5505 -17 5563 17
rect 5597 -17 5655 17
rect 5689 -17 5747 17
rect 5781 -17 5839 17
rect 5873 -17 5931 17
rect 5965 -17 6023 17
rect 6057 -17 6115 17
rect 6149 -17 6207 17
rect 6241 -17 6299 17
rect 6333 -17 6391 17
rect 6425 -17 6483 17
rect 6517 -17 6546 17
rect 1854 -48 6546 -17
<< via1 >>
rect 3980 926 4076 932
rect 3980 886 4076 926
rect 3980 880 4076 886
rect 4426 852 4522 858
rect 4426 812 4522 852
rect 4426 806 4522 812
rect 3999 379 4051 431
rect 4438 360 4490 412
<< metal2 >>
rect 3980 932 4076 938
rect 3980 431 4076 880
rect 3980 379 3999 431
rect 4051 379 4076 431
rect 3980 349 4076 379
rect 4426 858 4522 864
rect 4426 412 4522 806
rect 4426 360 4438 412
rect 4490 360 4522 412
rect 4426 349 4522 360
use n-leg_ctrl_fet_0  n-leg_ctrl_fet_0_0
transform 1 0 1991 0 -1 869
box -129 -153 2945 91
use n-leg_ctrl_fet_1  n-leg_ctrl_fet_1_0
transform 1 0 5164 0 -1 795
box -129 -153 689 91
use n-leg_ctrl_fet_2  n-leg_ctrl_fet_2_0
transform 1 0 6104 0 1 847
box -129 -153 221 91
use n-leg_ctrl_fet_3  n-leg_ctrl_fet_3_0
transform 1 0 6404 0 1 727
box -73 -107 73 107
use n-leg_polyres  n-leg_polyres_0
transform 0 1 4251 -1 0 398
box -33 -243 33 243
<< labels >>
flabel metal1 1900 733 1900 733 7 FreeSerif 320 0 0 0 cal_ctrl[2]
port 7 w
flabel metal1 1900 651 1900 651 7 FreeSerif 320 0 0 0 cal_ctrl[3]
port 8 w
flabel viali 1900 -1 1900 -1 7 FreeSerif 320 0 0 0 GND
port 2 w
flabel viali 1900 1089 1900 1089 7 FreeSerif 320 0 0 0 GND
port 2 w
flabel metal1 s 1900 995 1900 995 7 FreeSerif 320 0 0 0 cal_ctrl[0]
port 5 w
flabel metal2 4033 370 4033 370 7 FreeSerif 320 0 0 0 DQ
port 3 w
flabel metal1 s 1900 909 1900 909 7 FreeSerif 320 0 0 0 cal_ctrl[1]
port 6 w
flabel polycont 1967 232 1967 232 7 FreeSerif 320 0 0 0 pd_ctrl
port 1 w
<< end >>

# cell n-leg_ctrl_fet_0: kit device sky130_fd_pr__nfet_01v8, w 0.650 l 0.150 m 1 nf 2 diffcov 25 polycov 100 guard 0 glc 0 grc 0 gtc 0 gbc 0 tbcov 100 rlcov 100 topc 0 botc 0 poverlap 1 doverlap 1 lmin 0.15 wmin 0.42 compatible {sky130_fd_pr__nfet_01v8 sky130_fd_pr__nfet_01v8_lvt sky130_fd_bs_flash__special_sonosfet_star sky130_fd_pr__nfet_g5v0d10v5 sky130_fd_pr__nfet_05v0_nvt sky130_fd_pr__nfet_03v3_nvt} full_metal 0 viasrc 0 viadrn 0 viagate 0 viagb 0 viagr 0 viagl 0 viagt 0

# cell n-leg_ctrl_fet_1: kit device sky130_fd_pr__nfet_01v8, w 0.650 l 0.150 m 1 nf 2 diffcov 25 polycov 100 guard 0 glc 0 grc 0 gtc 0 gbc 0 tbcov 100 rlcov 100 topc 0 botc 0 poverlap 1 doverlap 1 lmin 0.15 wmin 0.42 compatible {sky130_fd_pr__nfet_01v8 sky130_fd_pr__nfet_01v8_lvt sky130_fd_bs_flash__special_sonosfet_star sky130_fd_pr__nfet_g5v0d10v5 sky130_fd_pr__nfet_05v0_nvt sky130_fd_pr__nfet_03v3_nvt} full_metal 0 viasrc 0 viadrn 0 viagate 0 viagb 0 viagr 0 viagl 0 viagt 0

# cell n-leg_ctrl_fet_2: kit device sky130_fd_pr__nfet_01v8, w 0.650 l 0.150 m 1 nf 2 diffcov 25 polycov 100 guard 0 glc 0 grc 0 gtc 0 gbc 0 tbcov 100 rlcov 100 topc 0 botc 0 poverlap 1 doverlap 1 lmin 0.15 wmin 0.42 compatible {sky130_fd_pr__nfet_01v8 sky130_fd_pr__nfet_01v8_lvt sky130_fd_bs_flash__special_sonosfet_star sky130_fd_pr__nfet_g5v0d10v5 sky130_fd_pr__nfet_05v0_nvt sky130_fd_pr__nfet_03v3_nvt} full_metal 0 viasrc 0 viadrn 0 viagate 0 viagb 0 viagr 0 viagl 0 viagt 0

# cell n-leg_ctrl_fet_3: kit device sky130_fd_pr__nfet_01v8, w 0.5 l 0.150 m 1 nf 1 diffcov 100 polycov 100 guard 0 glc 0 grc 0 gtc 0 gbc 0 tbcov 100 rlcov 100 topc 0 botc 1 poverlap 0 doverlap 0 lmin 0.15 wmin 0.42 compatible {sky130_fd_pr__nfet_01v8 sky130_fd_pr__nfet_01v8_lvt sky130_fd_bs_flash__special_sonosfet_star sky130_fd_pr__nfet_g5v0d10v5 sky130_fd_pr__nfet_05v0_nvt sky130_fd_pr__nfet_03v3_nvt} full_metal 0 viasrc 100 viadrn 100 viagate 100 viagb 0 viagr 0 viagl 0 viagt 0

# cell n-leg_polyres: kit device sky130_fd_pr__res_generic_po, w 0.33 l 1.7 m 1 nx 1 wmin 0.330 lmin 1.650 rho 48.2 val 248.303 dummy 0 dw 0.0 term 0.0 sterm 0.0 caplen 0.4 snake 0 guard 0 glc 0 grc 0 gtc 0 gbc 0 roverlap 0 endcov 100 full_metal 0 hv_guard 0 n_guard 0 vias 1 viagb 0 viagt 0 viagl 0 viagr 0
